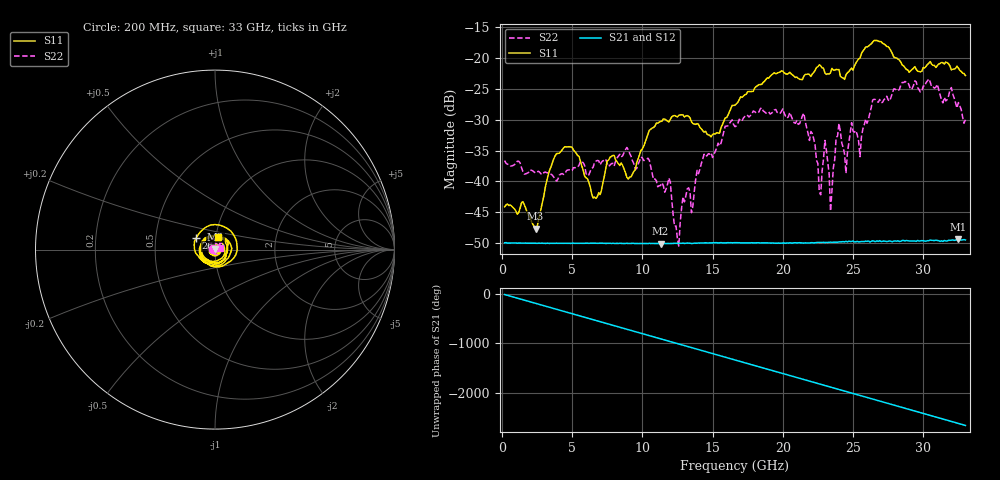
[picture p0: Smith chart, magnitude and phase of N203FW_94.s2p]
# GHZ S RI R 50
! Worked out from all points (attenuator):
!   329 points, 200 MHz to 33 GHz, reference 50 ohm
!   highest |S21| = -49.42 dB at 32.5 GHz (marker M1); lowest = -50.1 dB at 11.3 GHz (marker M2)
!   lowest |S11| = -47.6 dB at 2.4 GHz (marker M3), VSWR 1.01, Z = 50.2 + j0.334 ohm
!   |S11| at or under -10 dB: start of sweep to end of sweep
!   |S22| runs from -50.5 to -23.4 dB; largest |S21 - S12| = 8.8e-05
!   S11 on the Smith chart (normalised r, x): 200 MHz: 1.01, +0.00; 26 GHz: 0.80, +0.11; 33 GHz: 1.02, +0.15
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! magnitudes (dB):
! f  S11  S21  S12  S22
! 200 MHz  -44.1  -50.0  -49.9  -36.6
! 2.4 GHz  -47.6  -50.0  -50.0  -38.6
! 3.9 GHz  -35.5  -50.0  -50.0  -40.0
! 5.7 GHz  -37.5  -50.0  -50.0  -36.8
! 6.7 GHz  -42.8  -50.0  -50.0  -36.7
! 11.2 GHz  -30.4  -50.1  -50.1  -40.7
! 11.3 GHz  -30.3  -50.1  -50.1  -40.6
! 12 GHz  -29.9  -50.1  -50.1  -40.2
! 12.6 GHz  -29.2  -50.1  -50.0  -50.5
! 12.9 GHz  -29.2  -50.0  -50.0  -42.5
! 16.6 GHz  -27.6  -49.9  -49.9  -31.1
! 22.1 GHz  -22.6  -49.9  -49.9  -32.2
! 22.7 GHz  -21.2  -49.9  -49.9  -42.2
! 23 GHz  -22.4  -49.9  -49.9  -33.3
! 23.4 GHz  -22.4  -49.9  -49.9  -44.8
! 24 GHz  -21.8  -49.8  -49.8  -30.6
! 24.5 GHz  -22.7  -49.7  -49.7  -38.7
! 24.9 GHz  -21.6  -49.7  -49.7  -30.5
! 26 GHz  -18.2  -49.7  -49.7  -30.6
! 27.6 GHz  -18.4  -49.7  -49.7  -27.0
! 32.5 GHz  -21.6  -49.4  -49.4  -27.2
! 33 GHz  -22.8  -49.5  -49.5  -30.0
